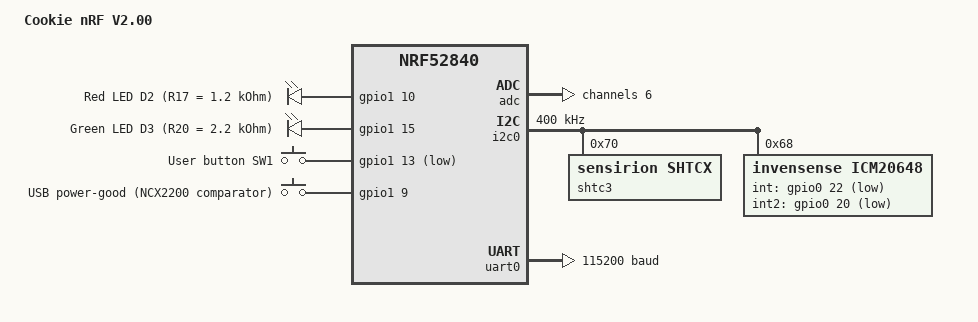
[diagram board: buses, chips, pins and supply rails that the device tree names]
/dts-v1/;
#include <nordic/nrf52840_qiaa.dtsi>
#include <zephyr/dt-bindings/input/input-event-codes.h>
#include "cookie_nrf_v200-pinctrl.dtsi"

/ {
	model = "Cookie nRF V2.00";
	compatible = "cei,cookie-nrf-v200";

	chosen {
		zephyr,sram        = &sram0;
		zephyr,flash       = &flash0;
		zephyr,code-partition = &slot0_partition;
		zephyr,console     = &uart0;
		zephyr,shell-uart  = &uart0;
		zephyr,uart-mcumgr = &uart0;
	};

	leds {
		compatible = "gpio-leds";
		led_red: led_0 {
			gpios = <&gpio1 10 GPIO_ACTIVE_HIGH>;
			label = "Red LED D2 (R17 = 1.2 kOhm)";
		};
		led_green: led_1 {
			gpios = <&gpio1 15 GPIO_ACTIVE_HIGH>;
			label = "Green LED D3 (R20 = 2.2 kOhm)";
		};
	};

	buttons {
		compatible = "gpio-keys";
		sw_user: button_0 {
			gpios = <&gpio1 13 (GPIO_PULL_UP | GPIO_ACTIVE_LOW)>;
			label = "User button SW1";
			zephyr,code = <INPUT_KEY_0>;
		};
		usb_pgood: button_1 {
			gpios = <&gpio1 9 GPIO_ACTIVE_HIGH>;
			label = "USB power-good (NCX2200 comparator)";
			zephyr,code = <INPUT_KEY_POWER>;
		};
	};

	aliases {
		led-red       = &led_red;
		led-green     = &led_green;
		sw-user       = &sw_user;
		usb-pgood     = &usb_pgood;
		temp-humid    = &shtc3;
		imu           = &icm20648;
		self-current  = &self_current_chan;
	};
};

&adc {
	status = "okay";
	#address-cells = <1>;
	#size-cells = <0>;

	self_current_chan: channel@6 {
		reg = <6>;
		zephyr,gain             = "ADC_GAIN_1_6";
		zephyr,reference        = "ADC_REF_INTERNAL";
		zephyr,acquisition-time = <ADC_ACQ_TIME(ADC_ACQ_TIME_MICROSECONDS, 10)>;
		zephyr,input-positive   = <NRF_SAADC_AIN6>;
		zephyr,resolution       = <12>;
	};
};

&gpio0  { status = "okay"; };
&gpio1  { status = "okay"; };
&gpiote { status = "okay"; };

&i2c0 {
	compatible = "nordic,nrf-twim";
	status = "okay";
	pinctrl-0 = <&i2c0_default>;
	pinctrl-1 = <&i2c0_sleep>;
	pinctrl-names = "default", "sleep";
	clock-frequency = <I2C_BITRATE_FAST>;

	shtc3: shtc3@70 {
		compatible = "sensirion,shtcx";
		reg = <0x70>;
		chip = "shtc3";
		measure-mode = "normal";
		clock-stretching;
	};

	icm20648: icm20648@68 {
		compatible = "invensense,icm20648";
		reg = <0x68>;
		int-gpios  = <&gpio0 22 GPIO_ACTIVE_LOW>;
		int2-gpios = <&gpio0 20 GPIO_ACTIVE_LOW>;
		status = "okay";
	};
};

&uart0 {
	status = "okay";
	current-speed = <115200>;
	pinctrl-0 = <&uart0_default>;
	pinctrl-1 = <&uart0_sleep>;
	pinctrl-names = "default", "sleep";
};

&flash0 {
	partitions {
		compatible = "fixed-partitions";
		#address-cells = <1>;
		#size-cells = <1>;

		boot_partition: partition@0 {
			label = "mcuboot";
			reg = <0x00000000 DT_SIZE_K(48)>;
		};
		slot0_partition: partition@c000 {
			label = "image-0";
			reg = <0x0000C000 DT_SIZE_K(472)>;
		};
		slot1_partition: partition@82000 {
			label = "image-1";
			reg = <0x00082000 DT_SIZE_K(472)>;
		};
		storage_partition: partition@f8000 {
			label = "storage";
			reg = <0x000F8000 DT_SIZE_K(32)>;
		};
	};
};
